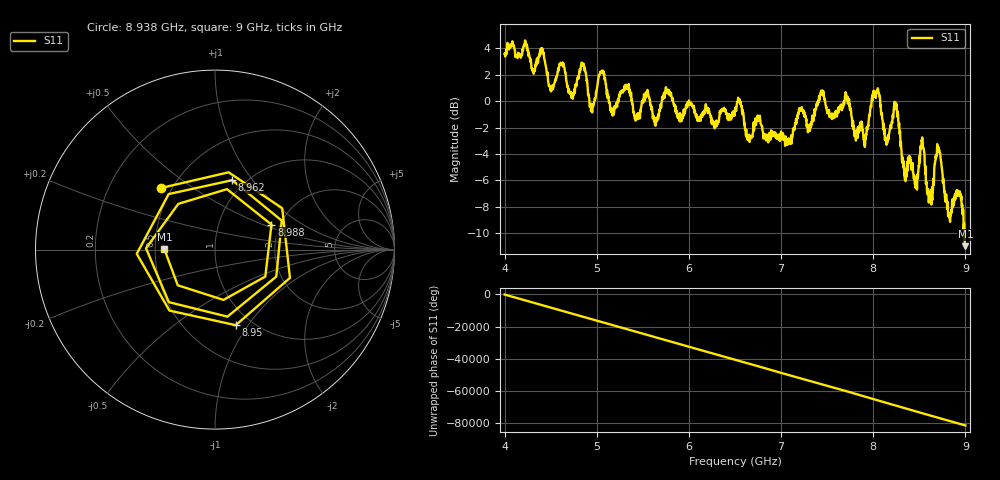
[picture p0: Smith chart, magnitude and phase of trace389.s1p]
! Created with skrf 1.8.0 (http://scikit-rf.org).
# Hz S RI R 50.0
!freq ReS11 ImS11
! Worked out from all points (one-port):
!   1601 points, 4 GHz to 9 GHz, reference 50 ohm
!   lowest |S11| = -11.0 dB at 9 GHz (marker M1), VSWR 1.79, Z = 28 + j0.181 ohm
!   |S11| at or under -10 dB: 8.991147 GHz to end of sweep
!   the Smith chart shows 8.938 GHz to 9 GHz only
!   S11 on the Smith chart (normalised r, x): 8.938 GHz: 0.44, +0.38; 8.95 GHz: 0.84, -0.88; 8.962 GHz: 0.87, +0.80; 8.988 GHz: 1.80, +0.57; 9 GHz: 0.56, +0.00
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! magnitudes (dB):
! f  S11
! 4 GHz  3.6
! 4.403 GHz  4.0
! 4.506 GHz  0.8
! 4.625 GHz  2.8
! 4.731 GHz  0.2
! 4.853 GHz  2.7
! 4.947 GHz  -0.6
! 5.05 GHz  2.2
! 5.25 GHz  0.4
! 5.875 GHz  -1.2
! 6.5 GHz  -0.8
! 7.125 GHz  -2.7
! 7.438 GHz  0.5
! 7.75 GHz  -0.5
! 7.916 GHz  -2.6
! 8.05 GHz  1.0
! 8.15 GHz  -3.2
! 8.244 GHz  -0.3
! 8.375 GHz  -5.3
! 8.534 GHz  -2.9
! 8.622 GHz  -7.6
! 8.709 GHz  -3.8
! 8.822 GHz  -8.8
! 8.938 GHz  -6.8
! 8.95 GHz  -7.2
! 8.962 GHz  -8.0
! 8.988 GHz  -9.3
! 9 GHz  -11.0
